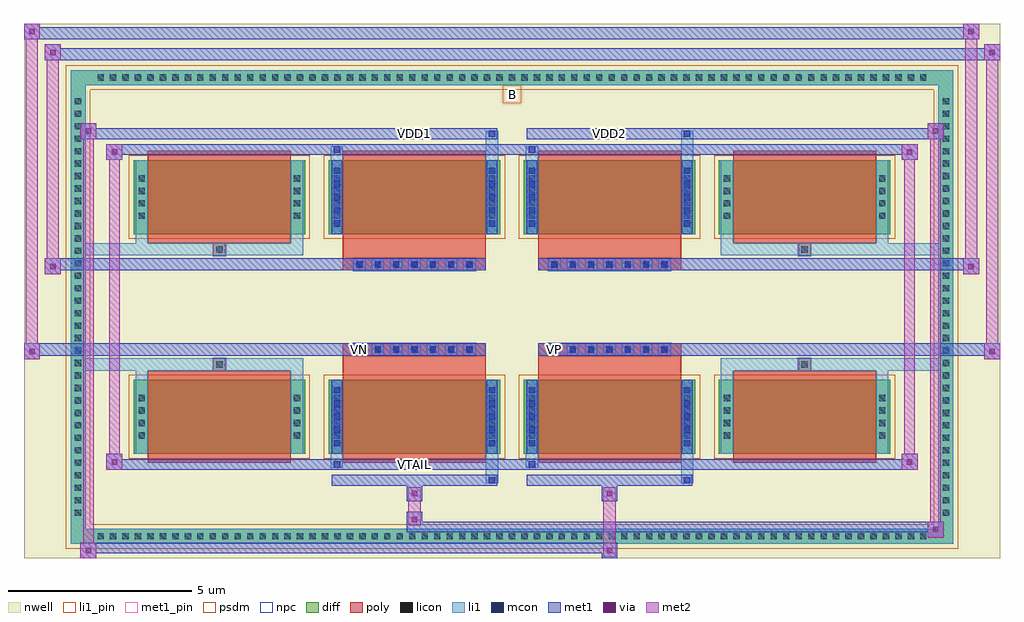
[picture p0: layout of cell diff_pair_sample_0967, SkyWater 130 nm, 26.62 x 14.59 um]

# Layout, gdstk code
import gdstk
lib = gdstk.Library(unit=1e-6, precision=5e-09)
def R(c, l, rs):  # rectangles x0, y0, x1, y1
    for r in rs: c.add(gdstk.rectangle(r[:2], r[2:], *l))
def A(c, l, x, y, w, h, nx, ny, dx, dy):  # array of equal rectangles
    R(c, l, [(x+i*dx, y+j*dy, x+i*dx+w, y+j*dy+h) for i in range(nx) for j in range(ny)])
def P(c, l, *ps):  # polygons
    for p in ps: c.add(gdstk.Polygon(p, *l))
nwell = (64, 20)
diff = (65, 20)
poly = (66, 20)
licon = (66, 44)
li1_pin = (67, 16)
li1 = (67, 20)
mcon = (67, 44)
met1_pin = (68, 16)
met1 = (68, 20)
via = (68, 44)
met2 = (69, 20)
psdm = (94, 20)
npc = (95, 20)

diff_pair_sample_0967 = lib.new_cell('diff_pair_sample_0967')
R(diff_pair_sample_0967, nwell, [(-13.31,-6.86,13.31,7.73), (-10.63,-5.05,-0.01,-0.795), (0.01,-5.05,10.63,-0.795), (-10.63,0.795,-0.01,5.05), (0.01,0.795,10.63,5.05)])
A(diff_pair_sample_0967, diff, -11.425, -6.46, 0.41, 0.41, 67, 2, 0.34, 12.51)
A(diff_pair_sample_0967, diff, -12.04, -5.815, 0.41, 0.41, 1, 34, 0, 0.34)
A(diff_pair_sample_0967, diff, 11.63, -5.815, 0.41, 0.41, 1, 34, 0, 0.34)
A(diff_pair_sample_0967, diff, -10.32, -4.005, 4.68, 2.02, 4, 2, 5.32, 5.99)
R(diff_pair_sample_0967, diff, [(-11.425,-6.46,11.425,-6.05), (-12.04,-5.815,-11.63,5.815), (11.63,-5.815,12.04,5.815), (-11.425,6.05,11.425,6.46)])
P(diff_pair_sample_0967, diff, [(12.04,6.46),(-12.04,6.46),(-12.04,-6.05),(-11.63,-6.05),(-11.63,6.05),(11.63,6.05),(11.63,-6.05),(-11.63,-6.05),(-12.04,-6.05),(-12.04,-6.46),(12.04,-6.46)])
A(diff_pair_sample_0967, poly, -9.93, -4.255, 3.9, 2.52, 4, 2, 5.32, 5.99)
A(diff_pair_sample_0967, poly, -4.325, -1.325, 0.33, 0.33, 7, 2, 0.5, 2.32)
A(diff_pair_sample_0967, poly, 0.995, -1.325, 0.33, 0.33, 7, 2, 0.5, 2.32)
R(diff_pair_sample_0967, poly, [(-8.145,-1.735,-7.815,-1.405), (-8.145,-1.735,-7.815,-1.405), (-4.61,-1.735,-0.71,-1.325), (0.71,-1.735,4.61,-1.325), (7.815,-1.735,8.145,-1.405), (7.815,-1.735,8.145,-1.405), (-4.61,-1.325,-0.71,-0.995), (0.71,-1.325,4.61,-0.995), (-4.61,0.995,-0.71,1.325), (0.71,0.995,4.61,1.325), (-4.61,1.325,-0.71,1.735), (0.71,1.325,4.61,1.735), (-8.145,1.405,-7.815,1.735), (-8.145,1.405,-7.815,1.735), (7.815,1.405,8.145,1.735), (7.815,1.405,8.145,1.735)])
A(diff_pair_sample_0967, licon, -11.305, -6.34, 0.17, 0.17, 67, 2, 0.34, 12.51)
A(diff_pair_sample_0967, licon, -11.92, -5.695, 0.17, 0.17, 1, 34, 0, 0.34)
A(diff_pair_sample_0967, licon, 11.75, -5.695, 0.17, 0.17, 1, 34, 0, 0.34)
A(diff_pair_sample_0967, licon, -10.18, -3.59, 0.17, 0.17, 1, 4, 0, 0.34)
A(diff_pair_sample_0967, licon, -5.95, -3.59, 0.17, 0.17, 1, 4, 0, 0.34)
A(diff_pair_sample_0967, licon, -4.86, -3.59, 0.17, 0.17, 1, 4, 0, 0.34)
A(diff_pair_sample_0967, licon, -0.63, -3.59, 0.17, 0.17, 1, 4, 0, 0.34)
A(diff_pair_sample_0967, licon, 0.46, -3.59, 0.17, 0.17, 1, 4, 0, 0.34)
A(diff_pair_sample_0967, licon, 4.69, -3.59, 0.17, 0.17, 1, 4, 0, 0.34)
A(diff_pair_sample_0967, licon, 5.78, -3.59, 0.17, 0.17, 1, 4, 0, 0.34)
A(diff_pair_sample_0967, licon, 10.01, -3.59, 0.17, 0.17, 1, 4, 0, 0.34)
A(diff_pair_sample_0967, licon, -4.245, -1.245, 0.17, 0.17, 7, 2, 0.5, 2.32)
A(diff_pair_sample_0967, licon, 1.075, -1.245, 0.17, 0.17, 7, 2, 0.5, 2.32)
A(diff_pair_sample_0967, licon, -10.18, 2.4, 0.17, 0.17, 1, 4, 0, 0.34)
A(diff_pair_sample_0967, licon, -5.95, 2.4, 0.17, 0.17, 1, 4, 0, 0.34)
A(diff_pair_sample_0967, licon, -4.86, 2.4, 0.17, 0.17, 1, 4, 0, 0.34)
A(diff_pair_sample_0967, licon, -0.63, 2.4, 0.17, 0.17, 1, 4, 0, 0.34)
A(diff_pair_sample_0967, licon, 0.46, 2.4, 0.17, 0.17, 1, 4, 0, 0.34)
A(diff_pair_sample_0967, licon, 4.69, 2.4, 0.17, 0.17, 1, 4, 0, 0.34)
A(diff_pair_sample_0967, licon, 5.78, 2.4, 0.17, 0.17, 1, 4, 0, 0.34)
A(diff_pair_sample_0967, licon, 10.01, 2.4, 0.17, 0.17, 1, 4, 0, 0.34)
R(diff_pair_sample_0967, licon, [(-8.065,-1.655,-7.895,-1.485), (7.895,-1.655,8.065,-1.485), (-8.065,1.485,-7.895,1.655), (7.895,1.485,8.065,1.655)])
R(diff_pair_sample_0967, li1_pin, [(-0.25,5.55,0.25,6.05)])
A(diff_pair_sample_0967, li1, -11.385, -6.42, 0.33, 0.33, 67, 2, 0.34, 12.51)
A(diff_pair_sample_0967, li1, -12, -5.775, 0.33, 0.33, 1, 34, 0, 0.34)
A(diff_pair_sample_0967, li1, 11.67, -5.775, 0.33, 0.33, 1, 34, 0, 0.34)
A(diff_pair_sample_0967, li1, -4.86, -3.8, 0.17, 0.17, 1, 5, 0, 0.36)
A(diff_pair_sample_0967, li1, -0.63, -3.8, 0.17, 0.17, 1, 5, 0, 0.36)
A(diff_pair_sample_0967, li1, 0.46, -3.8, 0.17, 0.17, 1, 5, 0, 0.36)
A(diff_pair_sample_0967, li1, 4.69, -3.8, 0.17, 0.17, 1, 5, 0, 0.36)
A(diff_pair_sample_0967, li1, -10.26, -3.67, 0.33, 0.33, 1, 4, 0, 0.34)
A(diff_pair_sample_0967, li1, -6.03, -3.67, 0.33, 0.33, 1, 4, 0, 0.34)
A(diff_pair_sample_0967, li1, -4.94, -3.67, 0.33, 0.33, 1, 4, 0, 0.34)
A(diff_pair_sample_0967, li1, -0.71, -3.67, 0.33, 0.33, 1, 4, 0, 0.34)
A(diff_pair_sample_0967, li1, 0.38, -3.67, 0.33, 0.33, 1, 4, 0, 0.34)
A(diff_pair_sample_0967, li1, 4.61, -3.67, 0.33, 0.33, 1, 4, 0, 0.34)
A(diff_pair_sample_0967, li1, 5.7, -3.67, 0.33, 0.33, 1, 4, 0, 0.34)
A(diff_pair_sample_0967, li1, 9.93, -3.67, 0.33, 0.33, 1, 4, 0, 0.34)
A(diff_pair_sample_0967, li1, -4.325, -1.325, 0.33, 0.33, 7, 2, 0.5, 2.32)
A(diff_pair_sample_0967, li1, 0.995, -1.325, 0.33, 0.33, 7, 2, 0.5, 2.32)
A(diff_pair_sample_0967, li1, -4.86, 2.19, 0.17, 0.17, 1, 5, 0, 0.36)
A(diff_pair_sample_0967, li1, -0.63, 2.19, 0.17, 0.17, 1, 5, 0, 0.36)
A(diff_pair_sample_0967, li1, 0.46, 2.19, 0.17, 0.17, 1, 5, 0, 0.36)
A(diff_pair_sample_0967, li1, 4.69, 2.19, 0.17, 0.17, 1, 5, 0, 0.36)
A(diff_pair_sample_0967, li1, -10.26, 2.32, 0.33, 0.33, 1, 4, 0, 0.34)
A(diff_pair_sample_0967, li1, -6.03, 2.32, 0.33, 0.33, 1, 4, 0, 0.34)
A(diff_pair_sample_0967, li1, -4.94, 2.32, 0.33, 0.33, 1, 4, 0, 0.34)
A(diff_pair_sample_0967, li1, -0.71, 2.32, 0.33, 0.33, 1, 4, 0, 0.34)
A(diff_pair_sample_0967, li1, 0.38, 2.32, 0.33, 0.33, 1, 4, 0, 0.34)
A(diff_pair_sample_0967, li1, 4.61, 2.32, 0.33, 0.33, 1, 4, 0, 0.34)
A(diff_pair_sample_0967, li1, 5.7, 2.32, 0.33, 0.33, 1, 4, 0, 0.34)
A(diff_pair_sample_0967, li1, 9.93, 2.32, 0.33, 0.33, 1, 4, 0, 0.34)
R(diff_pair_sample_0967, li1, [(-12.04,-6.46,-11.63,-6.05), (-12.04,-6.46,-11.63,-6.05), (-11.63,-6.46,11.63,-6.05), (11.63,-6.46,12.04,-6.05), (11.63,-6.46,12.04,-6.05), (-12.04,-6.05,-11.63,6.05), (11.63,-6.05,12.04,6.05), (-0.71,-4.81,-0.38,-4.005), (-0.63,-4.81,-0.46,-4.64), (4.61,-4.81,4.94,-4.005), (4.69,-4.81,4.86,-4.64), (-4.94,-4.38,-4.61,-4.005), (-4.86,-4.38,-4.69,-4.21), (0.38,-4.38,0.71,-4.005), (0.46,-4.38,0.63,-4.21), (-10.26,-4.005,-9.93,-1.985), (-6.03,-4.005,-5.7,-1.985), (-4.94,-4.005,-4.61,-1.985), (-0.71,-4.005,-0.38,-1.985), (0.38,-4.005,0.71,-1.985), (4.61,-4.005,4.94,-1.985), (5.7,-4.005,6.03,-1.985), (9.93,-4.005,10.26,-1.985), (-4.86,-3.8,-4.69,-2.19), (-0.63,-3.8,-0.46,-2.19), (0.46,-3.8,0.63,-2.19), (4.69,-3.8,4.86,-2.19), (-10.26,-1.985,-9.93,-1.405), (-6.03,-1.985,-5.7,-1.405), (5.7,-1.985,6.03,-1.405), (9.93,-1.985,10.26,-1.405), (-12.04,-1.735,-8.145,-1.405), (-10.26,-1.735,-8.145,-1.405), (-8.145,-1.735,-7.815,-1.405), (-7.815,-1.735,-5.7,-1.405), (5.7,-1.735,7.815,-1.405), (7.815,-1.735,8.145,-1.405), (7.815,-1.735,12.04,-1.405), (8.145,-1.735,10.26,-1.405), (-12.04,1.405,-8.145,1.735), (-10.26,1.405,-8.145,1.735), (-10.26,1.405,-9.93,1.985), (-8.145,1.405,-7.815,1.735), (-7.815,1.405,-5.7,1.735), (-6.03,1.405,-5.7,1.985), (5.7,1.405,7.815,1.735), (5.7,1.405,6.03,1.985), (7.815,1.405,8.145,1.735), (7.815,1.405,12.04,1.735), (8.145,1.405,10.26,1.735), (9.93,1.405,10.26,1.985), (-10.26,1.985,-9.93,4.005), (-6.03,1.985,-5.7,4.005), (-4.94,1.985,-4.61,4.005), (-0.71,1.985,-0.38,4.005), (0.38,1.985,0.71,4.005), (4.61,1.985,4.94,4.005), (5.7,1.985,6.03,4.005), (9.93,1.985,10.26,4.005), (-4.86,2.19,-4.69,3.8), (-0.63,2.19,-0.46,3.8), (0.46,2.19,0.63,3.8), (4.69,2.19,4.86,3.8), (-4.94,4.005,-4.61,4.38), (-0.71,4.005,-0.38,4.81), (0.38,4.005,0.71,4.38), (4.61,4.005,4.94,4.81), (-4.86,4.21,-4.69,4.38), (0.46,4.21,0.63,4.38), (-0.63,4.64,-0.46,4.81), (4.69,4.64,4.86,4.81), (-12.04,6.05,-11.63,6.46), (-12.04,6.05,-11.63,6.46), (-11.63,6.05,11.63,6.46), (11.63,6.05,12.04,6.46), (11.63,6.05,12.04,6.46)])
A(diff_pair_sample_0967, mcon, -4.86, -3.8, 0.17, 0.17, 1, 5, 0, 0.36)
A(diff_pair_sample_0967, mcon, -0.63, -3.8, 0.17, 0.17, 1, 5, 0, 0.36)
A(diff_pair_sample_0967, mcon, 0.46, -3.8, 0.17, 0.17, 1, 5, 0, 0.36)
A(diff_pair_sample_0967, mcon, 4.69, -3.8, 0.17, 0.17, 1, 5, 0, 0.36)
A(diff_pair_sample_0967, mcon, -4.245, -1.245, 0.17, 0.17, 7, 2, 0.5, 2.32)
A(diff_pair_sample_0967, mcon, 1.075, -1.245, 0.17, 0.17, 7, 2, 0.5, 2.32)
A(diff_pair_sample_0967, mcon, -4.86, 2.19, 0.17, 0.17, 1, 5, 0, 0.36)
A(diff_pair_sample_0967, mcon, -0.63, 2.19, 0.17, 0.17, 1, 5, 0, 0.36)
A(diff_pair_sample_0967, mcon, 0.46, 2.19, 0.17, 0.17, 1, 5, 0, 0.36)
A(diff_pair_sample_0967, mcon, 4.69, 2.19, 0.17, 0.17, 1, 5, 0, 0.36)
R(diff_pair_sample_0967, mcon, [(-0.63,-4.81,-0.46,-4.64), (4.69,-4.81,4.86,-4.64), (-4.86,-4.38,-4.69,-4.21), (0.46,-4.38,0.63,-4.21), (-4.86,4.21,-4.69,4.38), (0.46,4.21,0.63,4.38), (-0.63,4.64,-0.46,4.81), (4.69,4.64,4.86,4.81)])
R(diff_pair_sample_0967, met1_pin, [(-2.795,-4.42,-2.525,-4.15), (-4.295,-1.285,-4.025,-1.015), (1.025,-1.285,1.295,-1.015), (-2.795,4.6,-2.525,4.87), (2.525,4.6,2.795,4.87)])
A(diff_pair_sample_0967, met1, -4.92, -3.86, 0.29, 0.29, 1, 5, 0, 0.36)
A(diff_pair_sample_0967, met1, -0.69, -3.86, 0.29, 0.29, 1, 5, 0, 0.36)
A(diff_pair_sample_0967, met1, 0.4, -3.86, 0.29, 0.29, 1, 5, 0, 0.36)
A(diff_pair_sample_0967, met1, 4.63, -3.86, 0.29, 0.29, 1, 5, 0, 0.36)
A(diff_pair_sample_0967, met1, -4.305, -1.305, 0.29, 0.29, 7, 2, 0.5, 2.32)
A(diff_pair_sample_0967, met1, 1.015, -1.305, 0.29, 0.29, 7, 2, 0.5, 2.32)
A(diff_pair_sample_0967, met1, -4.92, 2.13, 0.29, 0.29, 1, 5, 0, 0.36)
A(diff_pair_sample_0967, met1, -0.69, 2.13, 0.29, 0.29, 1, 5, 0, 0.36)
A(diff_pair_sample_0967, met1, 0.4, 2.13, 0.29, 0.29, 1, 5, 0, 0.36)
A(diff_pair_sample_0967, met1, 4.63, 2.13, 0.29, 0.29, 1, 5, 0, 0.36)
R(diff_pair_sample_0967, met1, [(-11.77,-6.86,-11.34,-6.43), (2.445,-6.86,2.875,-6.43), (-11.77,-6.72,2.875,-6.43), (11.34,-6.29,11.77,-5.86), (-2.875,-6.15,11.77,-5.86), (-2.875,-6.01,-2.445,-5.58), (-2.875,-5.3,-2.445,-4.87), (2.445,-5.3,2.875,-4.87), (-4.92,-4.87,-0.4,-4.58), (-0.69,-4.87,-0.4,-4.58), (0.4,-4.87,4.92,-4.58), (4.63,-4.87,4.92,-4.58), (-11.06,-4.44,-10.63,-4.01), (-11.06,-4.44,-4.92,-4.15), (-4.92,-4.44,-4.63,-4.15), (-4.92,-4.44,-0.4,-4.15), (-0.4,-4.44,0.4,-4.15), (0.4,-4.44,0.69,-4.15), (0.4,-4.44,4.92,-4.15), (4.92,-4.44,11.06,-4.15), (10.63,-4.44,11.06,-4.01), (-4.92,-4.005,-4.63,-1.985), (-0.69,-4.005,-0.4,-1.985), (0.4,-4.005,0.69,-1.985), (4.63,-4.005,4.92,-1.985), (-13.31,-1.425,-12.88,-0.995), (12.88,-1.425,13.31,-0.995), (-13.31,-1.325,-0.71,-0.995), (-4.61,-1.325,-0.71,-0.995), (0.71,-1.325,4.61,-0.995), (0.71,-1.325,13.31,-0.995), (-12.74,0.895,-12.31,1.325), (12.31,0.895,12.74,1.325), (-12.74,0.995,-4.61,1.325), (-4.61,0.995,-0.71,1.325), (0.71,0.995,4.61,1.325), (4.61,0.995,12.74,1.325), (-4.92,1.985,-4.63,4.005), (-0.69,1.985,-0.4,4.005), (0.4,1.985,0.69,4.005), (4.63,1.985,4.92,4.005), (-11.06,4.01,-10.63,4.44), (10.63,4.01,11.06,4.44), (-11.06,4.15,-4.92,4.44), (-4.92,4.15,-4.63,4.44), (-4.92,4.15,-0.4,4.44), (-0.4,4.15,0.4,4.44), (0.4,4.15,0.69,4.44), (0.4,4.15,4.92,4.44), (4.92,4.15,11.06,4.44), (-11.77,4.58,-11.34,5.01), (-11.77,4.58,-4.92,4.87), (-4.92,4.58,-0.4,4.87), (-0.69,4.58,-0.4,4.87), (0.4,4.58,4.92,4.87), (4.63,4.58,4.92,4.87), (4.92,4.58,11.77,4.87), (11.34,4.58,11.77,5.01), (-12.74,6.73,-12.31,7.16), (-12.74,6.73,-10.63,7.06), (-10.63,6.73,10.63,7.06), (10.63,6.73,13.31,7.06), (12.88,6.73,13.31,7.16), (-13.31,7.3,-12.88,7.73), (-13.31,7.3,-10.63,7.63), (-10.63,7.3,10.63,7.63), (10.63,7.3,12.74,7.63), (12.31,7.3,12.74,7.73)])
R(diff_pair_sample_0967, via, [(-11.63,-6.72,-11.48,-6.57), (2.585,-6.72,2.735,-6.57), (11.48,-6.15,11.63,-6), (-2.735,-5.87,-2.585,-5.72), (-2.735,-5.16,-2.585,-5.01), (2.585,-5.16,2.735,-5.01), (-10.92,-4.3,-10.77,-4.15), (10.77,-4.3,10.92,-4.15), (-13.17,-1.285,-13.02,-1.135), (13.02,-1.285,13.17,-1.135), (-12.6,1.035,-12.45,1.185), (12.45,1.035,12.6,1.185), (-10.92,4.15,-10.77,4.3), (10.77,4.15,10.92,4.3), (-11.63,4.72,-11.48,4.87), (11.48,4.72,11.63,4.87), (-12.6,6.87,-12.45,7.02), (13.02,6.87,13.17,7.02), (-13.17,7.44,-13.02,7.59), (12.45,7.44,12.6,7.59)])
R(diff_pair_sample_0967, met2, [(-11.77,-6.86,-11.34,-6.43), (-11.7,-6.86,-11.41,5.01), (-11.41,-6.86,-11.34,-6.43), (-11.72,-6.81,-11.39,-6.48), (2.495,-6.81,2.825,-6.48), (2.495,-6.48,2.825,-5.25), (11.34,-6.29,11.77,-5.86), (11.41,-6.29,11.7,5.01), (11.7,-6.29,11.77,-5.86), (11.39,-6.24,11.72,-5.91), (-2.825,-5.96,-2.495,-5.63), (-2.825,-5.63,-2.495,-5.25), (-2.825,-5.25,-2.495,-4.92), (2.495,-5.25,2.825,-4.92), (-11.06,-4.44,-10.63,-4.01), (-10.99,-4.44,-10.7,4.44), (-10.7,-4.44,-10.63,-4.01), (10.63,-4.44,11.06,-4.01), (10.7,-4.44,10.99,4.44), (10.99,-4.44,11.06,-4.01), (-11.01,-4.39,-10.68,-4.06), (10.68,-4.39,11.01,-4.06), (-13.31,-1.425,-12.88,-0.995), (-13.26,-1.425,-12.93,7.73), (-12.93,-1.425,-12.88,-0.995), (12.88,-1.425,13.31,-0.995), (12.93,-1.425,13.26,7.16), (13.26,-1.425,13.31,-0.995), (-13.26,-1.375,-12.93,-1.045), (12.93,-1.375,13.26,-1.045), (-12.74,0.895,-12.31,1.325), (-12.69,0.895,-12.36,7.16), (-12.36,0.895,-12.31,1.325), (12.31,0.895,12.74,1.325), (12.36,0.895,12.69,7.73), (12.69,0.895,12.74,1.325), (-12.69,0.945,-12.36,1.275), (12.36,0.945,12.69,1.275), (-11.06,4.01,-10.63,4.44), (-10.7,4.01,-10.63,4.44), (10.63,4.01,11.06,4.44), (10.99,4.01,11.06,4.44), (-11.01,4.06,-10.68,4.39), (10.68,4.06,11.01,4.39), (-11.77,4.58,-11.34,5.01), (-11.41,4.58,-11.34,5.01), (11.34,4.58,11.77,5.01), (11.7,4.58,11.77,5.01), (-11.72,4.63,-11.39,4.96), (11.39,4.63,11.72,4.96), (-12.74,6.73,-12.31,7.16), (-12.36,6.73,-12.31,7.16), (12.88,6.73,13.31,7.16), (13.26,6.73,13.31,7.16), (-12.69,6.78,-12.36,7.11), (12.93,6.78,13.26,7.11), (-13.31,7.3,-12.88,7.73), (-12.93,7.3,-12.88,7.73), (12.31,7.3,12.74,7.73), (12.69,7.3,12.74,7.73), (-13.26,7.35,-12.93,7.68), (12.36,7.35,12.69,7.68)])
A(diff_pair_sample_0967, psdm, -10.45, -4.135, 4.94, 2.28, 4, 2, 5.32, 5.99)
P(diff_pair_sample_0967, psdm, [(12.17,6.59),(-12.17,6.59),(-12.17,-5.92),(-11.5,-5.92),(-11.5,5.92),(11.5,5.92),(11.5,-5.92),(-11.5,-5.92),(-12.17,-5.92),(-12.17,-6.59),(12.17,-6.59)])
A(diff_pair_sample_0967, npc, -4.345, -1.345, 0.37, 0.37, 7, 2, 0.5, 2.32)
A(diff_pair_sample_0967, npc, 0.975, -1.345, 0.37, 0.37, 7, 2, 0.5, 2.32)
R(diff_pair_sample_0967, npc, [(-8.165,-1.755,-7.795,-1.385), (7.795,-1.755,8.165,-1.385), (-4.345,-1.345,-3.475,-0.975), (-4.345,-1.345,-3.475,-0.975), (-3.845,-1.345,-2.975,-0.975), (-3.845,-1.345,-2.975,-0.975), (-3.345,-1.345,-2.475,-0.975), (-3.345,-1.345,-2.475,-0.975), (-2.845,-1.345,-1.975,-0.975), (-2.845,-1.345,-1.975,-0.975), (-2.345,-1.345,-1.475,-0.975), (-2.345,-1.345,-1.475,-0.975), (-1.845,-1.345,-0.975,-0.975), (-1.845,-1.345,-0.975,-0.975), (0.975,-1.345,1.845,-0.975), (0.975,-1.345,1.845,-0.975), (1.475,-1.345,2.345,-0.975), (1.475,-1.345,2.345,-0.975), (1.975,-1.345,2.845,-0.975), (1.975,-1.345,2.845,-0.975), (2.475,-1.345,3.345,-0.975), (2.475,-1.345,3.345,-0.975), (2.975,-1.345,3.845,-0.975), (2.975,-1.345,3.845,-0.975), (3.475,-1.345,4.345,-0.975), (3.475,-1.345,4.345,-0.975), (-4.345,0.975,-3.475,1.345), (-4.345,0.975,-3.475,1.345), (-3.845,0.975,-2.975,1.345), (-3.845,0.975,-2.975,1.345), (-3.345,0.975,-2.475,1.345), (-3.345,0.975,-2.475,1.345), (-2.845,0.975,-1.975,1.345), (-2.845,0.975,-1.975,1.345), (-2.345,0.975,-1.475,1.345), (-2.345,0.975,-1.475,1.345), (-1.845,0.975,-0.975,1.345), (-1.845,0.975,-0.975,1.345), (0.975,0.975,1.845,1.345), (0.975,0.975,1.845,1.345), (1.475,0.975,2.345,1.345), (1.475,0.975,2.345,1.345), (1.975,0.975,2.845,1.345), (1.975,0.975,2.845,1.345), (2.475,0.975,3.345,1.345), (2.475,0.975,3.345,1.345), (2.975,0.975,3.845,1.345), (2.975,0.975,3.845,1.345), (3.475,0.975,4.345,1.345), (3.475,0.975,4.345,1.345), (-8.165,1.385,-7.795,1.755), (7.795,1.385,8.165,1.755)])
diff_pair_sample_0967.add(gdstk.Label('VTAIL', (-2.66,-4.285), layer=68, texttype=5))
diff_pair_sample_0967.add(gdstk.Label('VN', (-4.16,-1.15), layer=68, texttype=5))
diff_pair_sample_0967.add(gdstk.Label('VP', (1.16,-1.15), layer=68, texttype=5))
diff_pair_sample_0967.add(gdstk.Label('B', (0,5.8), layer=67, texttype=5))
diff_pair_sample_0967.add(gdstk.Label('VDD2', (2.66,4.735), layer=68, texttype=5))
diff_pair_sample_0967.add(gdstk.Label('VDD1', (-2.66,4.735), layer=68, texttype=5))

lib.write_gds('diff_pair_sample_0967.gds')
